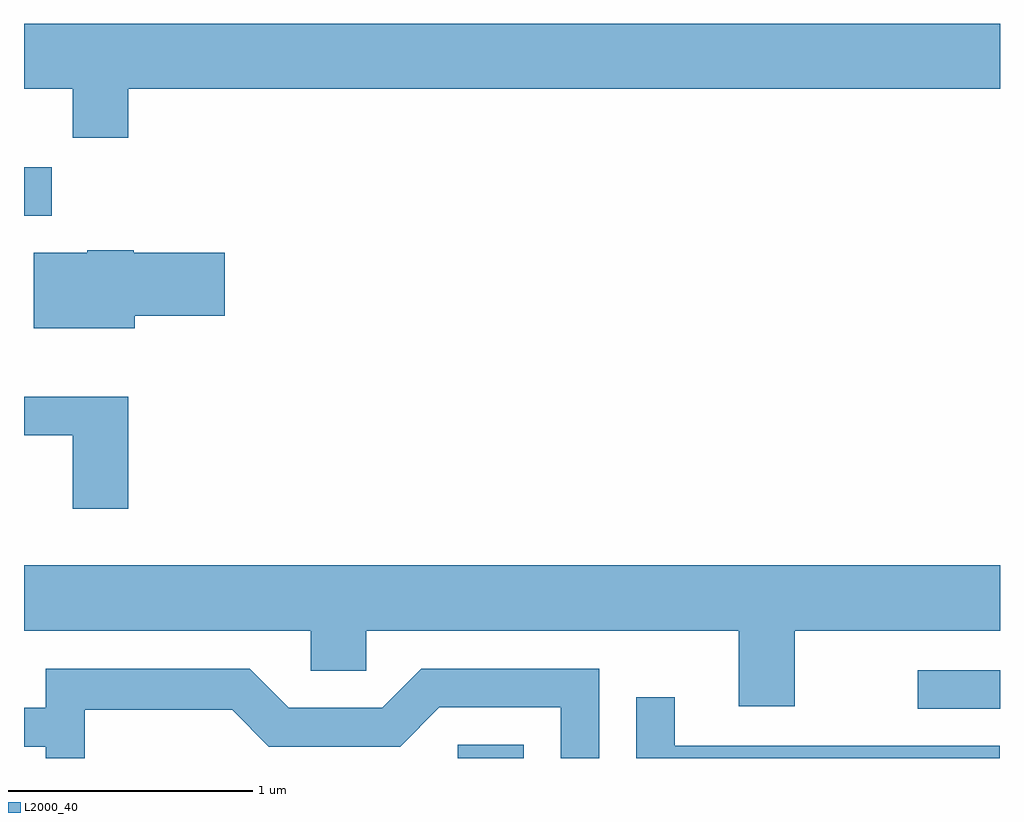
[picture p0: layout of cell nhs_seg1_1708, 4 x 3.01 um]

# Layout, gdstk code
import gdstk
lib = gdstk.Library(unit=1e-6, precision=1e-09)
def R(c, l, rs):  # rectangles x0, y0, x1, y1
    for r in rs: c.add(gdstk.rectangle(r[:2], r[2:], *l))
def P(c, l, *ps):  # polygons
    for p in ps: c.add(gdstk.Polygon(p, *l))
L2000_40 = (2000, 40)

nhs_seg1_1708 = lib.new_cell('nhs_seg1_1708')
R(nhs_seg1_1708, L2000_40, [(239.388,905.712,239.659,905.769), (241.273,905.916,241.611,906.074), (237.611,907.936,237.724,908.134)])
P(nhs_seg1_1708, L2000_40, [(238.039,908.456),(241.611,908.456),(241.611,908.724),(237.611,908.724),(237.611,908.456),(237.811,908.456),(237.811,908.256),(238.039,908.256)],
  [(238.064,907.526),(238.434,907.526),(238.434,907.784),(238.06,907.784),(238.06,907.794),(237.87,907.794),(237.87,907.784),(237.651,907.784),(237.651,907.476),(238.064,907.476)],
  [(238.039,907.194),(237.611,907.194),(237.611,907.036),(237.811,907.036),(237.811,906.736),(238.039,906.736)],
  [(240.769,906.236),(241.611,906.236),(241.611,906.504),(237.611,906.504),(237.611,906.236),(238.786,906.236),(238.786,906.071),(239.014,906.071),(239.014,906.236),(240.541,906.236),(240.541,905.926),(240.769,905.926)],
  [(237.859,905.911),(238.464,905.911),(238.614,905.761),(239.152,905.761),(239.312,905.921),(239.811,905.921),(239.811,905.712),(239.969,905.712),(239.969,906.079),(239.239,906.079),(239.079,905.919),(238.697,905.919),(238.537,906.079),(237.701,906.079),(237.701,905.919),(237.611,905.919),(237.611,905.761),(237.701,905.761),(237.701,905.712),(237.859,905.712)],
  [(241.609,905.764),(240.279,905.764),(240.279,905.963),(240.121,905.963),(240.121,905.712),(241.609,905.712)])

lib.write_gds('nhs_seg1_1708.gds')
